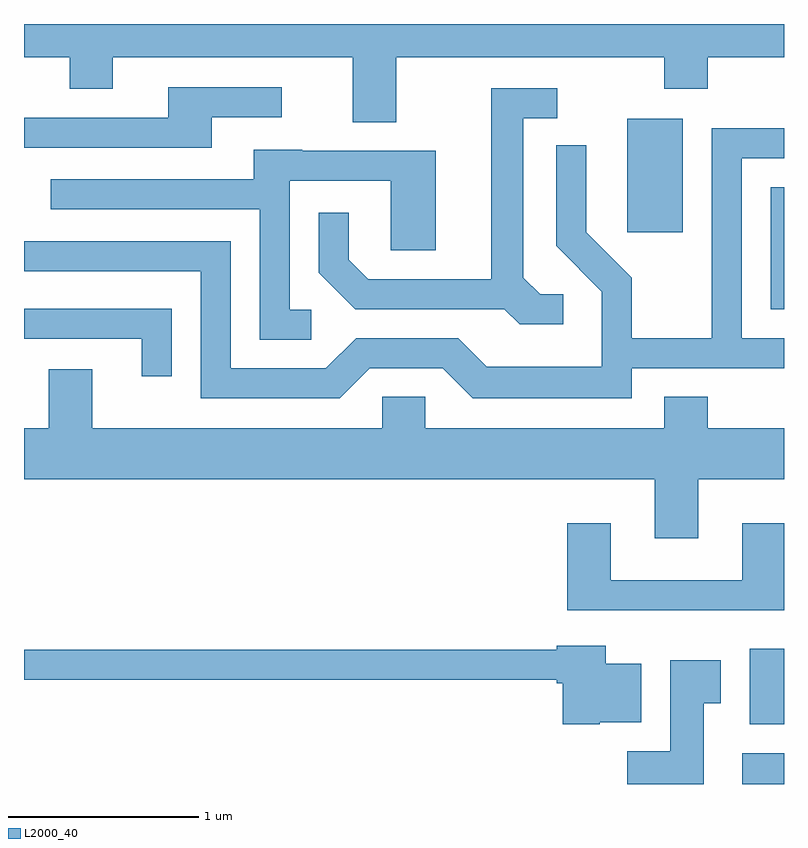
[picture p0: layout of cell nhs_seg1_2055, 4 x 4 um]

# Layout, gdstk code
import gdstk
lib = gdstk.Library(unit=1e-6, precision=1e-09)
def R(c, l, rs):  # rectangles x0, y0, x1, y1
    for r in rs: c.add(gdstk.rectangle(r[:2], r[2:], *l))
def P(c, l, *ps):  # polygons
    for p in ps: c.add(gdstk.Polygon(p, *l))
L2000_40 = (2000, 40)

nhs_seg1_2055 = lib.new_cell('nhs_seg1_2055')
R(nhs_seg1_2055, L2000_40, [(251.391,935.712,251.611,935.874), (251.431,936.026,251.611,936.424), (251.541,938.211,251.611,938.854), (250.786,938.616,251.079,939.214)])
P(nhs_seg1_2055, L2000_40, [(249.569,939.536),(250.981,939.536),(250.981,939.371),(251.209,939.371),(251.209,939.536),(251.611,939.536),(251.611,939.712),(247.611,939.712),(247.611,939.536),(247.851,939.536),(247.851,939.371),(248.079,939.371),(248.079,939.536),(249.341,939.536),(249.341,939.196),(249.569,939.196)],
  [(248.599,939.221),(248.968,939.221),(248.968,939.379),(248.371,939.379),(248.371,939.219),(247.611,939.219),(247.611,939.061),(248.599,939.061)],
  [(250.448,938.289),(250.327,938.289),(250.239,938.377),(250.239,939.216),(250.418,939.216),(250.418,939.374),(250.071,939.374),(250.071,938.369),(249.422,938.369),(249.319,938.472),(249.319,938.718),(249.161,938.718),(249.161,938.404),(249.354,938.211),(250.139,938.211),(250.219,938.131),(250.448,938.131)],
  [(249.432,937.901),(249.814,937.901),(249.974,937.741),(250.809,937.741),(250.809,937.901),(251.611,937.901),(251.611,938.059),(251.389,938.059),(251.389,939.006),(251.611,939.006),(251.611,939.164),(251.231,939.164),(251.231,938.059),(250.809,938.059),(250.809,938.377),(250.569,938.617),(250.569,939.073),(250.411,939.073),(250.411,938.544),(250.651,938.304),(250.651,937.909),(250.047,937.909),(249.897,938.059),(249.359,938.059),(249.199,937.899),(248.699,937.899),(248.699,938.569),(247.611,938.569),(247.611,938.411),(248.541,938.411),(248.541,937.741),(249.272,937.741)],
  [(249.123,938.209),(249.009,938.209),(249.009,938.886),(249.541,938.886),(249.541,938.521),(249.779,938.521),(249.779,939.044),(249.075,939.044),(249.075,939.049),(248.821,939.049),(248.821,938.894),(247.753,938.894),(247.753,938.736),(248.851,938.736),(248.851,938.051),(249.123,938.051)],
  [(248.389,938.214),(247.611,938.214),(247.611,938.056),(248.231,938.056),(248.231,937.858),(248.389,937.858)],
  [(249.724,937.749),(249.496,937.749),(249.496,937.584),(247.969,937.584),(247.969,937.894),(247.741,937.894),(247.741,937.584),(247.611,937.584),(247.611,937.316),(250.931,937.316),(250.931,937.006),(251.159,937.006),(251.159,937.316),(251.611,937.316),(251.611,937.584),(251.209,937.584),(251.209,937.749),(250.981,937.749),(250.981,937.584),(249.724,937.584)],
  [(251.611,937.084),(251.391,937.084),(251.391,936.784),(250.699,936.784),(250.699,937.084),(250.471,937.084),(250.471,936.626),(251.611,936.626)],
  [(250.64,936.036),(250.859,936.036),(250.859,936.344),(250.674,936.344),(250.674,936.439),(250.416,936.439),(250.416,936.419),(247.611,936.419),(247.611,936.261),(250.416,936.261),(250.416,936.241),(250.446,936.241),(250.446,936.026),(250.64,936.026)],
  [(251.189,936.136),(251.279,936.136),(251.279,936.364),(251.011,936.364),(251.011,935.884),(250.786,935.884),(250.786,935.712),(251.189,935.712)])

lib.write_gds('nhs_seg1_2055.gds')
